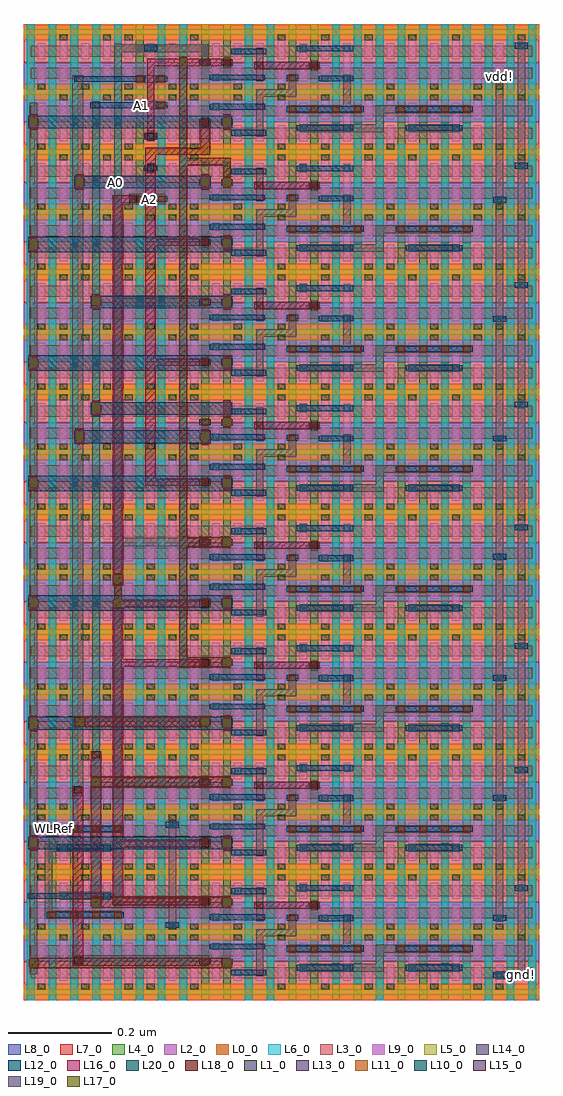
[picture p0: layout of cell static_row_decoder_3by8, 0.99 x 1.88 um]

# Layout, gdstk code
from math import pi, radians
import gdstk
lib = gdstk.Library(unit=1e-6, precision=5e-10)
def R(c, l, rs):  # rectangles x0, y0, x1, y1
    for r in rs: c.add(gdstk.rectangle(r[:2], r[2:], *l))
def A(c, l, x, y, w, h, nx, ny, dx, dy):  # array of equal rectangles
    R(c, l, [(x+i*dx, y+j*dy, x+i*dx+w, y+j*dy+h) for i in range(nx) for j in range(ny)])
L0_0 = (0, 0)
L1_0 = (1, 0)
L2_0 = (2, 0)
L3_0 = (3, 0)
L4_0 = (4, 0)
L5_0 = (5, 0)
L6_0 = (6, 0)
L7_0 = (7, 0)
L8_0 = (8, 0)
L9_0 = (9, 0)
L10_0 = (10, 0)
L11_0 = (11, 0)
L12_0 = (12, 0)
L13_0 = (13, 0)
L14_0 = (14, 0)
L15_0 = (15, 0)
L16_0 = (16, 0)
L17_0 = (17, 0)
L18_0 = (18, 0)
L19_0 = (19, 0)
L20_0 = (20, 0)

nmos = lib.new_cell('nmos')
R(nmos, L3_0, [(-0.042,-0.0105,0.042,0.0105)])
A(nmos, L4_0, -0.0495, -0.032, 0.015, 0.064, 3, 1, 0.042, 0)
R(nmos, L7_0, [(-0.0555,-0.021,0.0555,0.0205)])
R(nmos, L9_0, [(-0.0285,-0.0155,-0.0135,0.0155), (0.0135,-0.0155,0.0285,0.0155)])

pmos = lib.new_cell('pmos')
R(pmos, L2_0, [(-0.042,-0.0205,0.042,0.0205)])
R(pmos, L3_0, [(-0.042,-0.0105,0.042,0.0105)])
A(pmos, L4_0, -0.0495, -0.032, 0.015, 0.064, 3, 1, 0.042, 0)
R(pmos, L8_0, [(-0.0555,-0.0205,0.0555,0.0205)])
R(pmos, L9_0, [(-0.0285,-0.0155,-0.0135,0.0155), (0.0135,-0.0155,0.0285,0.0155)])

bpr_m0a = lib.new_cell('BPR_M0A')
R(bpr_m0a, L0_0, [(-0.021,-0.0055,0.021,0.026)])
R(bpr_m0a, L1_0, [(-0.0075,-0.0055,0.0075,0.005)])
R(bpr_m0a, L9_0, [(-0.0075,-0.0165,0.0075,0.005)])

m0a_m0b = lib.new_cell('M0A_M0B')
R(m0a_m0b, L9_0, [(-0.0075,-0.0055,0.0075,0.0055)])
R(m0a_m0b, L10_0, [(-0.0065,-0.0065,0.0065,0.0065)])
R(m0a_m0b, L12_0, [(-0.0125,-0.0055,0.0125,0.0055)])

m0b_m1 = lib.new_cell('M0B_M1')
R(m0b_m1, L12_0, [(-0.011,-0.005,0.011,0.005)])
R(m0b_m1, L13_0, [(-0.007,-0.005,0.007,0.005)])
R(m0b_m1, L14_0, [(-0.007,-0.0075,0.007,0.0075)])

gate_m0b = lib.new_cell('GATE_M0B')
R(gate_m0b, L4_0, [(-0.0075,-0.0115,0.0075,0.0115)])
R(gate_m0b, L11_0, [(-0.0075,-0.0065,0.0075,0.0065)])
R(gate_m0b, L12_0, [(-0.011,-0.0055,0.011,0.0055)])

nand = lib.new_cell('nand')
R(nand, L0_0, [(0.1045,0.057,0.2155,0.0885), (0.1465,0.057,0.2995,0.0885), (0.133,0.0665,0.142,0.074), (0.1045,0.1725,0.2155,0.204), (0.1465,0.1725,0.2995,0.204), (0.137,0.192,0.143,0.198)])
R(nand, L2_0, [(0.1045,0.1315,0.2155,0.204), (0.1465,0.1315,0.2995,0.204)])
A(nand, L4_0, 0.1105, 0.057, 0.015, 0.147, 5, 1, 0.042, 0)
R(nand, L4_0, [(0.2785,0.057,0.2935,0.204)])
R(nand, L5_0, [(0.1045,0.0675,0.2995,0.078), (0.1045,0.183,0.2995,0.1935)])
R(nand, L6_0, [(0.1105,0.057,0.1255,0.204), (0.2365,0.057,0.2515,0.204), (0.2785,0.057,0.2935,0.204)])
R(nand, L7_0, [(0.1045,0.057,0.2155,0.1315), (0.1465,0.057,0.2995,0.1315)])
R(nand, L8_0, [(0.1045,0.132,0.2155,0.2045), (0.1465,0.133,0.2995,0.2045)])
R(nand, L12_0, [(0.2105,0.1045,0.2775,0.1155), (0.1685,0.1545,0.276,0.1655)])
R(nand, L14_0, [(0.258,0.1025,0.272,0.1675), (0.1575,0.129,0.162,0.134), (0.2,0.1295,0.204,0.133), (0.262,0.1575,0.2675,0.1625)])
nand.add(gdstk.Reference(nmos, (0.244,0.1095), rotation=pi, x_reflection=True))
nand.add(gdstk.Reference(nmos, (0.16,0.1095), rotation=pi, x_reflection=True))
nand.add(gdstk.Reference(pmos, (0.16,0.152), rotation=pi, x_reflection=True))
nand.add(gdstk.Reference(pmos, (0.202,0.152), rotation=pi, x_reflection=True))
nand.add(gdstk.Reference(pmos, (0.244,0.152), rotation=pi, x_reflection=True))
nand.add(gdstk.Reference(bpr_m0a, (0.139,0.178), rotation=pi, x_reflection=True))
nand.add(gdstk.Reference(bpr_m0a, (0.139,0.083), x_reflection=True))
nand.add(gdstk.Reference(bpr_m0a, (0.223,0.178), rotation=pi, x_reflection=True))
nand.add(gdstk.Reference(m0a_m0b, (0.181,0.16)))
nand.add(gdstk.Reference(m0a_m0b, (0.223,0.11)))
nand.add(gdstk.Reference(m0b_m1, (0.265,0.16)))
nand.add(gdstk.Reference(m0b_m1, (0.265,0.11)))
nand.add(gdstk.Reference(m0b_m1, (0.202,0.131)))
nand.add(gdstk.Reference(m0b_m1, (0.16,0.131)))
nand.add(gdstk.Reference(gate_m0b, (0.202,0.131)))
nand.add(gdstk.Reference(gate_m0b, (0.16,0.131)))
nand.add(gdstk.Label('Y', (0.2645,0.16), layer=14, texttype=0))
nand.add(gdstk.Label('A', (0.1595,0.1315), layer=14, texttype=0))
nand.add(gdstk.Label('B', (0.202,0.131), layer=14, texttype=0))
nand.add(gdstk.Label('gnd!', (0.1375,0.07), layer=0, texttype=0))
nand.add(gdstk.Label('vdd!', (0.14,0.195), layer=0, texttype=0))

sram_filler = lib.new_cell('sram_filler')
R(sram_filler, L0_0, [(0.001,0,0.112,0.0315), (0.072,0.0115,0.084,0.0245), (0.001,0.1155,0.112,0.147), (0.072,0.121,0.0855,0.141)])
R(sram_filler, L2_0, [(0.001,0.0745,0.112,0.147)])
A(sram_filler, L4_0, 0.007, 0, 0.015, 0.147, 3, 1, 0.042, 0)
R(sram_filler, L5_0, [(0.001,0.0105,0.112,0.021), (0.001,0.126,0.112,0.1365)])
A(sram_filler, L6_0, 0.007, 0, 0.015, 0.147, 3, 1, 0.042, 0)
R(sram_filler, L7_0, [(0.001,0,0.112,0.0745)])
R(sram_filler, L8_0, [(0.001,0.075,0.112,0.1475)])
sram_filler.add(gdstk.Reference(nmos, (0.0565,0.0525)))
sram_filler.add(gdstk.Reference(pmos, (0.0565,0.095)))
sram_filler.add(gdstk.Reference(bpr_m0a, (0.0355,0.026), rotation=pi))
sram_filler.add(gdstk.Reference(bpr_m0a, (0.0775,0.121)))

invx4 = lib.new_cell('invx4')
R(invx4, L0_0, [(0.006,0,0.243,0.0315), (0.033,0.0045,0.0535,0.0175), (0.006,0.1155,0.243,0.147), (0.194,0.131,0.215,0.143)])
R(invx4, L2_0, [(0.006,0.0745,0.243,0.147)])
A(invx4, L4_0, 0.012, 0, 0.015, 0.147, 6, 1, 0.042, 0)
R(invx4, L5_0, [(0.006,0.0105,0.243,0.021), (0.006,0.126,0.243,0.1365)])
R(invx4, L6_0, [(0.012,0,0.027,0.147), (0.222,0,0.237,0.147), (0.138,0.0315,0.153,0.0715), (0.18,0.0315,0.195,0.0715)])
R(invx4, L7_0, [(0.006,0,0.243,0.0745)])
R(invx4, L8_0, [(0.006,0.075,0.243,0.1475)])
R(invx4, L9_0, [(0.075,0.06,0.09,0.0795), (0.159,0.06,0.174,0.08)])
R(invx4, L12_0, [(0.07,0.0565,0.179,0.0675), (0.0505,0.093,0.1985,0.104)])
R(invx4, L14_0, [(0.0755,0.0545,0.1735,0.0695), (0.0795,0.058,0.0865,0.0645), (0.0545,0.091,0.1945,0.106), (0.079,0.0965,0.0855,0.1015)])
invx4.add(gdstk.Reference(bpr_m0a, (0.2085,0.121)))
invx4.add(gdstk.Reference(bpr_m0a, (0.1245,0.026), rotation=pi))
invx4.add(gdstk.Reference(bpr_m0a, (0.2085,0.026), rotation=pi))
invx4.add(gdstk.Reference(bpr_m0a, (0.0405,0.026), rotation=pi))
invx4.add(gdstk.Reference(bpr_m0a, (0.1245,0.121)))
invx4.add(gdstk.Reference(bpr_m0a, (0.0405,0.121)))
invx4.add(gdstk.Reference(gate_m0b, (0.0615,0.0985)))
invx4.add(gdstk.Reference(gate_m0b, (0.1035,0.0985)))
invx4.add(gdstk.Reference(gate_m0b, (0.1455,0.0985)))
invx4.add(gdstk.Reference(gate_m0b, (0.1875,0.0985)))
invx4.add(gdstk.Reference(m0a_m0b, (0.0825,0.062)))
invx4.add(gdstk.Reference(m0a_m0b, (0.1665,0.062)))
invx4.add(gdstk.Reference(nmos, (0.1875,0.0525)))
invx4.add(gdstk.Reference(nmos, (0.1455,0.0525)))
invx4.add(gdstk.Reference(nmos, (0.0615,0.0525)))
invx4.add(gdstk.Reference(nmos, (0.1035,0.0525)))
invx4.add(gdstk.Reference(pmos, (0.1875,0.095)))
invx4.add(gdstk.Reference(pmos, (0.1455,0.095)))
invx4.add(gdstk.Reference(pmos, (0.1035,0.095)))
invx4.add(gdstk.Reference(pmos, (0.0615,0.095)))
invx4.add(gdstk.Reference(m0b_m1, (0.0615,0.0985)))
invx4.add(gdstk.Reference(m0b_m1, (0.1035,0.0985)))
invx4.add(gdstk.Reference(m0b_m1, (0.1455,0.0985)))
invx4.add(gdstk.Reference(m0b_m1, (0.1875,0.0985)))
invx4.add(gdstk.Reference(m0b_m1, (0.0825,0.062)))
invx4.add(gdstk.Reference(m0b_m1, (0.1665,0.062)))
invx4.add(gdstk.Label('vdd!', (0.2045,0.137), layer=0, texttype=0))
invx4.add(gdstk.Label('gnd!', (0.043,0.011), layer=0, texttype=0))
invx4.add(gdstk.Label('in', (0.082,0.099), layer=14, texttype=0))
invx4.add(gdstk.Label('out', (0.083,0.061), layer=14, texttype=0))

buffer_highdrive = lib.new_cell('buffer_highdrive')
R(buffer_highdrive, L0_0, [(0.2825,0.012,0.293,0.018), (0.159,0.138,0.1675,0.143)])
R(buffer_highdrive, L14_0, [(0.168,0.054,0.2315,0.069), (0.2165,0.054,0.2315,0.1055), (0.3675,0.0575,0.3745,0.064), (0.2165,0.0905,0.259,0.1055), (0.2835,0.096,0.29,0.101)])
buffer_highdrive.add(gdstk.Reference(invx4, (-0.0055,-0.0005)))
buffer_highdrive.add(gdstk.Reference(invx4, (0.2045,-0.0005)))
buffer_highdrive.add(gdstk.Label('vdd!', (0.163,0.1405), layer=0, texttype=0))
buffer_highdrive.add(gdstk.Label('gnd!', (0.2875,0.015), layer=0, texttype=0))

nor = lib.new_cell('nor')
R(nor, L0_0, [(0.157,0.0005,0.352,0.032), (0.186,0.009,0.1965,0.016), (0.157,0.116,0.352,0.1475), (0.1885,0.1335,0.1945,0.1415)])
R(nor, L2_0, [(0.157,0.075,0.352,0.1325)])
A(nor, L4_0, 0.163, 0.0005, 0.015, 0.147, 5, 1, 0.042, 0)
R(nor, L5_0, [(0.157,0.011,0.352,0.0215), (0.157,0.1265,0.352,0.137)])
R(nor, L6_0, [(0.163,0.0005,0.178,0.1475), (0.289,0.0005,0.304,0.1475), (0.331,0.0005,0.346,0.1475)])
R(nor, L7_0, [(0.157,0.0005,0.352,0.075)])
R(nor, L8_0, [(0.157,0.075,0.352,0.148)])
R(nor, L9_0, [(0.31,0.0635,0.325,0.0955)])
R(nor, L12_0, [(0.221,0.042,0.325,0.053), (0.263,0.1,0.33,0.111)])
R(nor, L14_0, [(0.2315,0.0455,0.2355,0.0495), (0.253,0.0775,0.2565,0.0805), (0.209,0.1035,0.2155,0.1085)])
nor.add(gdstk.Reference(bpr_m0a, (0.1915,0.1215)))
nor.add(gdstk.Reference(bpr_m0a, (0.2755,0.0265), rotation=pi))
nor.add(gdstk.Reference(bpr_m0a, (0.1915,0.0265), rotation=pi))
nor.add(gdstk.Reference(nmos, (0.2965,0.053)))
nor.add(gdstk.Reference(nmos, (0.2545,0.053)))
nor.add(gdstk.Reference(nmos, (0.2125,0.053)))
nor.add(gdstk.Reference(pmos, (0.2965,0.0955)))
nor.add(gdstk.Reference(pmos, (0.2545,0.0955)))
nor.add(gdstk.Reference(pmos, (0.2125,0.0955)))
nor.add(gdstk.Reference(m0b_m1, (0.2545,0.0795)))
nor.add(gdstk.Reference(m0b_m1, (0.2125,0.1055)))
nor.add(gdstk.Reference(m0b_m1, (0.2335,0.0475)))
nor.add(gdstk.Reference(m0a_m0b, (0.3175,0.0475)))
nor.add(gdstk.Reference(m0a_m0b, (0.3175,0.1055)))
nor.add(gdstk.Reference(m0a_m0b, (0.2755,0.1055)))
nor.add(gdstk.Reference(m0a_m0b, (0.2335,0.0475)))
nor.add(gdstk.Reference(gate_m0b, (0.2545,0.0795)))
nor.add(gdstk.Reference(gate_m0b, (0.2125,0.104)))
nor.add(gdstk.Label('Y', (0.2335,0.0475), layer=14, texttype=0))
nor.add(gdstk.Label('B', (0.2545,0.079), layer=14, texttype=0))
nor.add(gdstk.Label('A', (0.212,0.106), layer=14, texttype=0))
nor.add(gdstk.Label('gnd!', (0.191,0.0125), layer=0, texttype=0))
nor.add(gdstk.Label('vdd!', (0.1915,0.1375), layer=0, texttype=0))

m1_m2 = lib.new_cell('M1_M2')
R(m1_m2, L14_0, [(-0.007,-0.01,0.007,0.01)])
R(m1_m2, L15_0, [(-0.007,-0.007,0.007,0.007)])
R(m1_m2, L16_0, [(-0.01,-0.007,0.01,0.007)])

inv = lib.new_cell('inv')
R(inv, L0_0, [(0,0,0.153,0.0315), (0.025,0.006,0.0415,0.016), (0,0.1155,0.153,0.147), (0.11,0.131,0.125,0.1425)])
R(inv, L2_0, [(0,0.0745,0.153,0.147)])
A(inv, L4_0, 0.006, 0, 0.015, 0.147, 4, 1, 0.042, 0)
R(inv, L5_0, [(0,0.0105,0.153,0.021), (0,0.126,0.153,0.1365)])
R(inv, L6_0, [(0.006,0,0.021,0.147), (0.09,0,0.105,0.0715), (0.132,0,0.147,0.147)])
R(inv, L7_0, [(0,0,0.153,0.0745)])
R(inv, L8_0, [(0,0.075,0.153,0.1475)])
R(inv, L9_0, [(0.069,0.068,0.084,0.0795)])
R(inv, L12_0, [(0.0915,0.103,0.1055,0.1095)])
R(inv, L14_0, [(0.071,0.0415,0.0815,0.051), (0.0485,0.0985,0.1045,0.1135)])
inv.add(gdstk.Reference(nmos, (0.0975,0.0525)))
inv.add(gdstk.Reference(nmos, (0.0555,0.0525)))
inv.add(gdstk.Reference(pmos, (0.0975,0.095)))
inv.add(gdstk.Reference(pmos, (0.0555,0.095)))
inv.add(gdstk.Reference(bpr_m0a, (0.0345,0.026), rotation=pi))
inv.add(gdstk.Reference(bpr_m0a, (0.0345,0.121)))
inv.add(gdstk.Reference(bpr_m0a, (0.1185,0.121)))
inv.add(gdstk.Reference(m0a_m0b, (0.0765,0.0465)))
inv.add(gdstk.Reference(gate_m0b, (0.0555,0.106)))
inv.add(gdstk.Reference(gate_m0b, (0.0975,0.106)))
inv.add(gdstk.Reference(m0b_m1, (0.0555,0.106)))
inv.add(gdstk.Reference(m0b_m1, (0.0765,0.0465)))
inv.add(gdstk.Reference(m0b_m1, (0.0975,0.106)))
inv.add(gdstk.Label('vdd!', (0.1175,0.1365), layer=0, texttype=0))
inv.add(gdstk.Label('gnd!', (0.033,0.011), layer=0, texttype=0))
inv.add(gdstk.Label('out', (0.075,0.0435), layer=14, texttype=0))
inv.add(gdstk.Label('in', (0.0985,0.1045), layer=14, texttype=0))

m2_m3 = lib.new_cell('M2_M3')
R(m2_m3, L16_0, [(-0.01,-0.007,0.01,0.007)])
R(m2_m3, L17_0, [(-0.007,-0.007,0.007,0.007)])
R(m2_m3, L18_0, [(-0.0075,-0.01,0.0075,0.01)])

buffer_highdrive_vertica = lib.new_cell('buffer_highdrive_vertical')
R(buffer_highdrive_vertica, L0_0, [(0.079,0.012,0.0895,0.018), (0.159,0.138,0.1675,0.143)])
R(buffer_highdrive_vertica, L6_0, [(0.1325,-0.0005,0.1475,0.031), (0.1745,-0.0005,0.1895,0.031)])
R(buffer_highdrive_vertica, L14_0, [(0.2795,-0.0945,0.2945,0.1135), (0.041,-0.075,0.056,0.069), (0.041,-0.075,0.063,-0.06), (0.074,-0.0335,0.081,-0.027), (0.041,0.054,0.0845,0.069), (0.0735,0.096,0.08,0.101)])
buffer_highdrive_vertica.add(gdstk.Reference(invx4, (-0.0055,-0.0005)))
buffer_highdrive_vertica.add(gdstk.Reference(invx4, (-0.0055,0.031), x_reflection=True))
buffer_highdrive_vertica.add(gdstk.Reference(sram_filler, (0.2095,-0.0005)))
buffer_highdrive_vertica.add(gdstk.Reference(sram_filler, (0.2095,0.031), x_reflection=True))
buffer_highdrive_vertica.add(gdstk.Reference(m0a_m0b, (0.287,-0.087)))
buffer_highdrive_vertica.add(gdstk.Reference(m0a_m0b, (0.287,0.106)))
buffer_highdrive_vertica.add(gdstk.Reference(m0b_m1, (0.287,-0.087)))
buffer_highdrive_vertica.add(gdstk.Reference(m0b_m1, (0.287,0.106)))
buffer_highdrive_vertica.add(gdstk.Label('vdd!', (0.163,0.1335), layer=0, texttype=0))
buffer_highdrive_vertica.add(gdstk.Label('gnd!', (0.084,0.015), layer=0, texttype=0))
buffer_highdrive_vertica.add(gdstk.Label('in', (0.0765,0.0985), layer=14, texttype=0))
buffer_highdrive_vertica.add(gdstk.Label('out', (0.0775,-0.03), layer=14, texttype=0))

m3_m4 = lib.new_cell('M3_M4')
R(m3_m4, L18_0, [(-0.0075,-0.015,0.0075,0.015)])
R(m3_m4, L19_0, [(-0.0075,-0.012,0.0075,0.012)])
R(m3_m4, L20_0, [(-0.0105,-0.012,0.0105,0.012)])

static_row_decoder_3by8 = lib.new_cell('static_row_decoder_3by8')
R(static_row_decoder_3by8, L6_0, [(0.421,0.1415,0.436,0.1835)])
R(static_row_decoder_3by8, L12_0, [(0.171,-1.2745,0.2315,-1.2635), (0.2915,0.248,0.3975,0.259), (0.26,0.2985,0.3975,0.3095)])
A(static_row_decoder_3by8, L14_0, 0.6105, -1.38, 0.014, 0.047, 1, 8, 0, 0.231)
A(static_row_decoder_3by8, L14_0, 0.7785, -1.3785, 0.014, 0.074, 1, 8, 0, 0.231)
A(static_row_decoder_3by8, L14_0, 0.6105, -1.347, 0.0775, 0.014, 1, 8, 0, 0.231)
A(static_row_decoder_3by8, L14_0, 0.6735, -1.347, 0.0145, 0.0425, 1, 8, 0, 0.231)
A(static_row_decoder_3by8, L14_0, 0.337, -1.0575, 0.183, 0.016, 1, 3, 0, 0.462)
R(static_row_decoder_3by8, L14_0, [(1.0725,-1.4295,1.129,-1.4145), (1.1145,-1.4295,1.129,0.3755), (1.118,-1.4265,1.1275,-1.416), (0.175,-1.4195,0.189,-1.2765), (0.26,-1.4035,0.5195,-1.3835), (1.072,-1.319,1.087,0.317), (0.175,-1.2765,0.189,0.258), (0.214,-1.1445,0.225,-1.1335), (0.257,-1.0765,0.278,0.3115), (0.337,-1.0555,0.352,0.3715), (0.2955,-1.0075,0.3095,0.261), (0.5055,-0.395,0.5195,-0.349), (0.366,0.063,0.436,0.083), (0.4015,0.069,0.41,0.0765), (0.3815,0.248,0.397,0.259), (1.075,0.3055,1.084,0.3115), (0.5055,0.3295,0.5195,0.371), (0.337,0.356,0.415,0.371), (0.4005,0.356,0.5195,0.371)])
A(static_row_decoder_3by8, L16_0, 0.6075, -1.294, 0.126, 0.014, 1, 8, 0, 0.231)
A(static_row_decoder_3by8, L16_0, 0.3975, -0.4795, 0.125, 0.014, 1, 3, 0, 0.231)
R(static_row_decoder_3by8, L16_0, [(0.2575,-1.404,0.2775,-1.0575), (0.2925,-1.2885,0.3125,-0.99), (0.3345,-1.2875,0.3545,-0.699), (0.337,-1.2875,0.5225,-1.2735), (0.337,-1.175,0.5225,-1.161), (0.337,-0.8275,0.5225,-0.8135), (0.3345,-0.7135,0.5225,-0.699), (0.3345,-0.67,0.3545,0.08), (0.337,-0.67,0.352,-0.6625), (0.3975,-0.4795,0.4175,0.1455), (0.337,0.066,0.382,0.08), (0.3975,0.1255,0.4175,0.172), (0.3975,0.158,0.5225,0.172), (0.5025,0.158,0.5225,0.2275), (0.4005,0.1865,0.4145,0.343), (0.4005,0.329,0.5645,0.343)])
R(static_row_decoder_3by8, L18_0, [(0.175,-1.408,0.562,-1.388), (0.295,-1.2915,0.562,-1.271), (0.2925,-1.06,0.562,-1.04), (0.261,-0.9435,0.52,-0.9235), (0.463,-0.829,0.562,-0.809), (0.463,-0.829,0.478,0.346), (0.337,-0.716,0.352,-0.6485), (0.463,-0.598,0.562,-0.578), (0.547,-0.367,0.562,-0.315), (0.547,0.095,0.562,0.152), (0.463,0.138,0.562,0.152)])
R(static_row_decoder_3by8, L20_0, [(0.175,-1.179,0.565,-1.155), (0.1715,-0.949,0.565,-0.924), (0.1715,-0.72,0.565,-0.69), (0.1715,-0.4895,0.565,-0.4595), (0.2605,-0.397,0.523,-0.3725), (0.292,-0.3425,0.565,-0.318), (0.1715,-0.258,0.565,-0.228), (0.292,-0.1375,0.565,-0.1135), (0.1715,-0.0295,0.565,0.0005), (0.2605,0.094,0.523,0.118), (0.3265,0.0985,0.352,0.111), (0.175,0.2095,0.565,0.2335)])
static_row_decoder_3by8.add(gdstk.Reference(nand, (0.3525,-0.8335)))
static_row_decoder_3by8.add(gdstk.Reference(nand, (0.3525,-0.457), x_reflection=True))
static_row_decoder_3by8.add(gdstk.Reference(nand, (0.3525,-0.688), x_reflection=True))
static_row_decoder_3by8.add(gdstk.Reference(nand, (0.3525,-1.0645)))
static_row_decoder_3by8.add(gdstk.Reference(nand, (0.3525,-1.5265)))
static_row_decoder_3by8.add(gdstk.Reference(nand, (0.3525,-1.2955)))
static_row_decoder_3by8.add(gdstk.Reference(nand, (0.3525,-0.919), x_reflection=True))
static_row_decoder_3by8.add(gdstk.Reference(nand, (0.3525,-1.15), x_reflection=True))
static_row_decoder_3by8.add(gdstk.Reference(nand, (0.3525,-0.1405)))
static_row_decoder_3by8.add(gdstk.Reference(nand, (0.3525,-0.6025)))
static_row_decoder_3by8.add(gdstk.Reference(nand, (0.3525,-0.226), x_reflection=True))
static_row_decoder_3by8.add(gdstk.Reference(nand, (0.3525,0.005), x_reflection=True))
static_row_decoder_3by8.add(gdstk.Reference(nand, (0.3525,-0.3715)))
static_row_decoder_3by8.add(gdstk.Reference(nand, (0.3525,0.236), x_reflection=True))
static_row_decoder_3by8.add(gdstk.Reference(nand, (0.3525,0.467), x_reflection=True))
static_row_decoder_3by8.add(gdstk.Reference(nand, (0.3525,0.0905)))
static_row_decoder_3by8.add(gdstk.Reference(sram_filler, (1.044,-0.3145)))
static_row_decoder_3by8.add(gdstk.Reference(sram_filler, (1.157,-0.745), rotation=pi))
static_row_decoder_3by8.add(gdstk.Reference(sram_filler, (1.044,-0.7765)))
static_row_decoder_3by8.add(gdstk.Reference(sram_filler, (1.157,-0.514), rotation=pi))
static_row_decoder_3by8.add(gdstk.Reference(sram_filler, (1.044,-0.5455)))
static_row_decoder_3by8.add(gdstk.Reference(sram_filler, (1.157,-0.283), rotation=pi))
static_row_decoder_3by8.add(gdstk.Reference(sram_filler, (1.044,-1.0075)))
static_row_decoder_3by8.add(gdstk.Reference(sram_filler, (1.157,-0.976), rotation=pi))
static_row_decoder_3by8.add(gdstk.Reference(sram_filler, (1.044,-1.2385)))
static_row_decoder_3by8.add(gdstk.Reference(sram_filler, (1.157,-1.207), rotation=pi))
static_row_decoder_3by8.add(gdstk.Reference(sram_filler, (1.044,-1.4695)))
static_row_decoder_3by8.add(gdstk.Reference(sram_filler, (1.157,-0.052), rotation=pi))
static_row_decoder_3by8.add(gdstk.Reference(sram_filler, (1.044,-0.0835)))
static_row_decoder_3by8.add(gdstk.Reference(sram_filler, (1.157,0.179), rotation=pi))
static_row_decoder_3by8.add(gdstk.Reference(sram_filler, (1.044,0.1475)))
static_row_decoder_3by8.add(gdstk.Reference(sram_filler, (1.157,0.41), rotation=pi))
static_row_decoder_3by8.add(gdstk.Reference(sram_filler, (0.275,0.41), rotation=pi))
static_row_decoder_3by8.add(gdstk.Reference(sram_filler, (0.162,0.1475)))
static_row_decoder_3by8.add(gdstk.Reference(sram_filler, (0.275,0.179), rotation=pi))
static_row_decoder_3by8.add(gdstk.Reference(sram_filler, (0.359,0.179), rotation=pi))
static_row_decoder_3by8.add(gdstk.Reference(sram_filler, (0.246,0.1475)))
static_row_decoder_3by8.add(gdstk.Reference(sram_filler, (0.359,0.41), rotation=pi))
static_row_decoder_3by8.add(gdstk.Reference(sram_filler, (0.162,-1.4695)))
static_row_decoder_3by8.add(gdstk.Reference(sram_filler, (0.246,-1.4695)))
static_row_decoder_3by8.add(gdstk.Reference(sram_filler, (0.33,-1.4695)))
static_row_decoder_3by8.add(gdstk.Reference(sram_filler, (0.372,-1.4695)))
static_row_decoder_3by8.add(gdstk.Reference(sram_filler, (0.162,-0.0835)))
static_row_decoder_3by8.add(gdstk.Reference(sram_filler, (0.246,-0.0835)))
static_row_decoder_3by8.add(gdstk.Reference(sram_filler, (0.33,-0.0835)))
static_row_decoder_3by8.add(gdstk.Reference(sram_filler, (0.372,-0.0835)))
static_row_decoder_3by8.add(gdstk.Reference(sram_filler, (0.162,-0.3145)))
static_row_decoder_3by8.add(gdstk.Reference(sram_filler, (0.204,-0.3145)))
static_row_decoder_3by8.add(gdstk.Reference(sram_filler, (0.288,-0.3145)))
static_row_decoder_3by8.add(gdstk.Reference(sram_filler, (0.372,-0.3145)))
static_row_decoder_3by8.add(gdstk.Reference(sram_filler, (0.275,-0.052), rotation=pi))
static_row_decoder_3by8.add(gdstk.Reference(sram_filler, (0.317,-0.052), rotation=pi))
static_row_decoder_3by8.add(gdstk.Reference(sram_filler, (0.401,-0.052), rotation=pi))
static_row_decoder_3by8.add(gdstk.Reference(sram_filler, (0.485,-0.052), rotation=pi))
static_row_decoder_3by8.add(gdstk.Reference(sram_filler, (0.485,-0.283), rotation=pi))
static_row_decoder_3by8.add(gdstk.Reference(sram_filler, (0.401,-0.283), rotation=pi))
static_row_decoder_3by8.add(gdstk.Reference(sram_filler, (0.317,-0.283), rotation=pi))
static_row_decoder_3by8.add(gdstk.Reference(sram_filler, (0.275,-0.283), rotation=pi))
static_row_decoder_3by8.add(gdstk.Reference(sram_filler, (0.372,-0.5455)))
static_row_decoder_3by8.add(gdstk.Reference(sram_filler, (0.288,-0.5455)))
static_row_decoder_3by8.add(gdstk.Reference(sram_filler, (0.204,-0.5455)))
static_row_decoder_3by8.add(gdstk.Reference(sram_filler, (0.162,-0.5455)))
static_row_decoder_3by8.add(gdstk.Reference(sram_filler, (0.275,-0.514), rotation=pi))
static_row_decoder_3by8.add(gdstk.Reference(sram_filler, (0.317,-0.514), rotation=pi))
static_row_decoder_3by8.add(gdstk.Reference(sram_filler, (0.401,-0.514), rotation=pi))
static_row_decoder_3by8.add(gdstk.Reference(sram_filler, (0.485,-0.514), rotation=pi))
static_row_decoder_3by8.add(gdstk.Reference(sram_filler, (0.162,-0.7765)))
static_row_decoder_3by8.add(gdstk.Reference(sram_filler, (0.246,-0.7765)))
static_row_decoder_3by8.add(gdstk.Reference(sram_filler, (0.33,-0.7765)))
static_row_decoder_3by8.add(gdstk.Reference(sram_filler, (0.372,-0.7765)))
static_row_decoder_3by8.add(gdstk.Reference(sram_filler, (0.485,-0.745), rotation=pi))
static_row_decoder_3by8.add(gdstk.Reference(sram_filler, (0.401,-0.745), rotation=pi))
static_row_decoder_3by8.add(gdstk.Reference(sram_filler, (0.317,-0.745), rotation=pi))
static_row_decoder_3by8.add(gdstk.Reference(sram_filler, (0.275,-0.745), rotation=pi))
static_row_decoder_3by8.add(gdstk.Reference(sram_filler, (0.372,-1.0075)))
static_row_decoder_3by8.add(gdstk.Reference(sram_filler, (0.33,-1.0075)))
static_row_decoder_3by8.add(gdstk.Reference(sram_filler, (0.246,-1.0075)))
static_row_decoder_3by8.add(gdstk.Reference(sram_filler, (0.162,-1.0075)))
static_row_decoder_3by8.add(gdstk.Reference(sram_filler, (0.275,-0.976), rotation=pi))
static_row_decoder_3by8.add(gdstk.Reference(sram_filler, (0.317,-0.976), rotation=pi))
static_row_decoder_3by8.add(gdstk.Reference(sram_filler, (0.401,-0.976), rotation=pi))
static_row_decoder_3by8.add(gdstk.Reference(sram_filler, (0.485,-0.976), rotation=pi))
static_row_decoder_3by8.add(gdstk.Reference(sram_filler, (0.792,-0.514), x_reflection=True))
static_row_decoder_3by8.add(gdstk.Reference(sram_filler, (0.96,-0.514), x_reflection=True))
static_row_decoder_3by8.add(gdstk.Reference(sram_filler, (0.876,-0.514), x_reflection=True))
static_row_decoder_3by8.add(gdstk.Reference(sram_filler, (0.96,-0.745), x_reflection=True))
static_row_decoder_3by8.add(gdstk.Reference(sram_filler, (0.792,-0.745), x_reflection=True))
static_row_decoder_3by8.add(gdstk.Reference(sram_filler, (0.876,-0.745), x_reflection=True))
static_row_decoder_3by8.add(gdstk.Reference(sram_filler, (0.792,-0.976), x_reflection=True))
static_row_decoder_3by8.add(gdstk.Reference(sram_filler, (0.96,-0.976), x_reflection=True))
static_row_decoder_3by8.add(gdstk.Reference(sram_filler, (0.876,-0.976), x_reflection=True))
static_row_decoder_3by8.add(gdstk.Reference(sram_filler, (0.96,-1.207), x_reflection=True))
static_row_decoder_3by8.add(gdstk.Reference(sram_filler, (0.792,-1.207), x_reflection=True))
static_row_decoder_3by8.add(gdstk.Reference(sram_filler, (0.876,-1.207), x_reflection=True))
static_row_decoder_3by8.add(gdstk.Reference(sram_filler, (0.876,-0.283), x_reflection=True))
static_row_decoder_3by8.add(gdstk.Reference(sram_filler, (0.792,-0.283), x_reflection=True))
static_row_decoder_3by8.add(gdstk.Reference(sram_filler, (0.96,-0.283), x_reflection=True))
static_row_decoder_3by8.add(gdstk.Reference(sram_filler, (0.876,-0.052), x_reflection=True))
static_row_decoder_3by8.add(gdstk.Reference(sram_filler, (0.96,-0.052), x_reflection=True))
static_row_decoder_3by8.add(gdstk.Reference(sram_filler, (0.792,-0.052), x_reflection=True))
static_row_decoder_3by8.add(gdstk.Reference(sram_filler, (0.792,0.179), x_reflection=True))
static_row_decoder_3by8.add(gdstk.Reference(sram_filler, (0.96,0.179), x_reflection=True))
static_row_decoder_3by8.add(gdstk.Reference(sram_filler, (0.96,0.41), x_reflection=True))
static_row_decoder_3by8.add(gdstk.Reference(sram_filler, (0.792,0.41), x_reflection=True))
static_row_decoder_3by8.add(gdstk.Reference(sram_filler, (0.876,0.41), x_reflection=True))
static_row_decoder_3by8.add(gdstk.Reference(sram_filler, (0.876,0.179), x_reflection=True))
static_row_decoder_3by8.add(gdstk.Reference(buffer_highdrive, (0.6245,-0.776)))
static_row_decoder_3by8.add(gdstk.Reference(buffer_highdrive, (0.6245,-1.238)))
static_row_decoder_3by8.add(gdstk.Reference(buffer_highdrive, (0.6245,-0.545)))
static_row_decoder_3by8.add(gdstk.Reference(buffer_highdrive, (0.6245,-0.314)))
static_row_decoder_3by8.add(gdstk.Reference(buffer_highdrive, (0.6245,-1.469)))
static_row_decoder_3by8.add(gdstk.Reference(buffer_highdrive, (0.6245,-1.007)))
static_row_decoder_3by8.add(gdstk.Reference(buffer_highdrive, (0.6245,0.148)))
static_row_decoder_3by8.add(gdstk.Reference(buffer_highdrive, (0.6245,-0.083)))
static_row_decoder_3by8.add(gdstk.Reference(nor, (0.468,-0.9755), x_reflection=True))
static_row_decoder_3by8.add(gdstk.Reference(nor, (0.468,-0.5135), x_reflection=True))
static_row_decoder_3by8.add(gdstk.Reference(nor, (0.468,-0.7445), x_reflection=True))
static_row_decoder_3by8.add(gdstk.Reference(nor, (0.468,-1.2065), x_reflection=True))
static_row_decoder_3by8.add(gdstk.Reference(nor, (0.468,-0.2825), x_reflection=True))
static_row_decoder_3by8.add(gdstk.Reference(nor, (0.468,-0.0515), x_reflection=True))
static_row_decoder_3by8.add(gdstk.Reference(nor, (0.468,0.4105), x_reflection=True))
static_row_decoder_3by8.add(gdstk.Reference(nor, (0.468,0.1795), x_reflection=True))
static_row_decoder_3by8.add(gdstk.Reference(m1_m2, (0.5545,-0.588)))
static_row_decoder_3by8.add(gdstk.Reference(m1_m2, (0.5545,-0.819)))
static_row_decoder_3by8.add(gdstk.Reference(m1_m2, (0.1825,-1.398)))
static_row_decoder_3by8.add(gdstk.Reference(m1_m2, (0.5545,-1.398)))
static_row_decoder_3by8.add(gdstk.Reference(m1_m2, (0.1825,-1.167)))
static_row_decoder_3by8.add(gdstk.Reference(m1_m2, (0.5545,-1.167)))
static_row_decoder_3by8.add(gdstk.Reference(m1_m2, (0.182,-0.937)))
static_row_decoder_3by8.add(gdstk.Reference(m1_m2, (0.5545,-0.936)))
static_row_decoder_3by8.add(gdstk.Reference(m1_m2, (0.182,-0.705)))
static_row_decoder_3by8.add(gdstk.Reference(m1_m2, (0.5545,-0.705)))
static_row_decoder_3by8.add(gdstk.Reference(m1_m2, (0.182,-0.4745)))
static_row_decoder_3by8.add(gdstk.Reference(m1_m2, (0.5545,-0.474)))
static_row_decoder_3by8.add(gdstk.Reference(m1_m2, (0.182,-0.0145)))
static_row_decoder_3by8.add(gdstk.Reference(m1_m2, (0.5545,-0.012)))
static_row_decoder_3by8.add(gdstk.Reference(m1_m2, (0.182,-0.243)))
static_row_decoder_3by8.add(gdstk.Reference(m1_m2, (0.5545,-0.243)))
static_row_decoder_3by8.add(gdstk.Reference(m1_m2, (0.1825,0.2215)))
static_row_decoder_3by8.add(gdstk.Reference(m1_m2, (0.5545,0.2215)))
static_row_decoder_3by8.add(gdstk.Reference(m1_m2, (0.2675,-1.3935)))
static_row_decoder_3by8.add(gdstk.Reference(m1_m2, (0.2675,-1.0645)))
static_row_decoder_3by8.add(gdstk.Reference(m1_m2, (0.271,-0.9335)))
static_row_decoder_3by8.add(gdstk.Reference(m1_m2, (0.5545,0.105)))
static_row_decoder_3by8.add(gdstk.Reference(m1_m2, (0.5125,-0.9335)))
static_row_decoder_3by8.add(gdstk.Reference(m1_m2, (0.271,-0.3845)))
static_row_decoder_3by8.add(gdstk.Reference(m1_m2, (0.5125,-0.385)))
static_row_decoder_3by8.add(gdstk.Reference(m1_m2, (0.271,0.106)))
static_row_decoder_3by8.add(gdstk.Reference(m1_m2, (0.5125,0.106)))
static_row_decoder_3by8.add(gdstk.Reference(m1_m2, (0.5545,-1.05)))
static_row_decoder_3by8.add(gdstk.Reference(m1_m2, (0.3025,-0.997)))
static_row_decoder_3by8.add(gdstk.Reference(m1_m2, (0.3025,-0.3305)))
static_row_decoder_3by8.add(gdstk.Reference(m1_m2, (0.5545,-0.357)))
static_row_decoder_3by8.add(gdstk.Reference(m1_m2, (0.5545,-0.1255)))
static_row_decoder_3by8.add(gdstk.Reference(m1_m2, (0.3025,-0.1255)))
static_row_decoder_3by8.add(gdstk.Reference(m1_m2, (0.5125,-0.706)))
static_row_decoder_3by8.add(gdstk.Reference(m1_m2, (0.5125,-0.8205)))
static_row_decoder_3by8.add(gdstk.Reference(m1_m2, (0.5125,-1.2805)))
static_row_decoder_3by8.add(gdstk.Reference(m1_m2, (0.3735,0.073)))
static_row_decoder_3by8.add(gdstk.Reference(m1_m2, (0.5125,-1.168)))
static_row_decoder_3by8.add(gdstk.Reference(m1_m2, (0.5545,-1.281)))
static_row_decoder_3by8.add(gdstk.Reference(m1_m2, (0.5125,-0.4725)))
static_row_decoder_3by8.add(gdstk.Reference(m1_m2, (0.5125,-0.2415)))
static_row_decoder_3by8.add(gdstk.Reference(m1_m2, (0.5125,-0.0105)))
static_row_decoder_3by8.add(gdstk.Reference(m1_m2, (0.5125,0.2205)))
static_row_decoder_3by8.add(gdstk.Reference(m1_m2, (0.4075,0.1325)))
static_row_decoder_3by8.add(gdstk.Reference(m1_m2, (0.4075,0.194)))
static_row_decoder_3by8.add(gdstk.Reference(m1_m2, (0.5545,0.336)))
static_row_decoder_3by8.add(gdstk.Reference(m1_m2, (0.7225,0.33)))
static_row_decoder_3by8.add(gdstk.Reference(m1_m2, (0.6175,0.33)))
static_row_decoder_3by8.add(gdstk.Reference(m1_m2, (0.6175,-0.363)))
static_row_decoder_3by8.add(gdstk.Reference(m1_m2, (0.7225,-0.363)))
static_row_decoder_3by8.add(gdstk.Reference(m1_m2, (0.7225,-0.132)))
static_row_decoder_3by8.add(gdstk.Reference(m1_m2, (0.6175,-1.056)))
static_row_decoder_3by8.add(gdstk.Reference(m1_m2, (0.7225,-1.056)))
static_row_decoder_3by8.add(gdstk.Reference(m1_m2, (0.6175,-0.825)))
static_row_decoder_3by8.add(gdstk.Reference(m1_m2, (0.7225,-0.825)))
static_row_decoder_3by8.add(gdstk.Reference(m1_m2, (0.7225,-0.594)))
static_row_decoder_3by8.add(gdstk.Reference(m1_m2, (0.6175,-0.132)))
static_row_decoder_3by8.add(gdstk.Reference(m1_m2, (0.7225,-1.287)))
static_row_decoder_3by8.add(gdstk.Reference(m1_m2, (0.6175,-1.287)))
static_row_decoder_3by8.add(gdstk.Reference(m1_m2, (0.6175,-0.594)))
static_row_decoder_3by8.add(gdstk.Reference(m1_m2, (0.7225,0.099)))
static_row_decoder_3by8.add(gdstk.Reference(m1_m2, (0.6175,0.099)))
static_row_decoder_3by8.add(gdstk.Reference(m0b_m1, (1.1215,-0.788)))
static_row_decoder_3by8.add(gdstk.Reference(m0b_m1, (1.0795,-0.158)))
static_row_decoder_3by8.add(gdstk.Reference(m0b_m1, (1.0795,-1.422)))
static_row_decoder_3by8.add(gdstk.Reference(m0b_m1, (1.1215,-1.254)))
static_row_decoder_3by8.add(gdstk.Reference(m0b_m1, (1.1215,-1.0265)))
static_row_decoder_3by8.add(gdstk.Reference(m0b_m1, (1.1215,-0.5595)))
static_row_decoder_3by8.add(gdstk.Reference(m0b_m1, (1.1215,-0.323)))
static_row_decoder_3by8.add(gdstk.Reference(m0b_m1, (1.1215,0.137)))
static_row_decoder_3by8.add(gdstk.Reference(m0b_m1, (1.1215,0.368)))
static_row_decoder_3by8.add(gdstk.Reference(m0b_m1, (1.0795,-0.616)))
static_row_decoder_3by8.add(gdstk.Reference(m0b_m1, (1.0795,-0.8495)))
static_row_decoder_3by8.add(gdstk.Reference(m0b_m1, (1.0795,-1.3115)))
static_row_decoder_3by8.add(gdstk.Reference(m0b_m1, (1.0795,-1.0805)))
static_row_decoder_3by8.add(gdstk.Reference(m0b_m1, (1.0795,-0.388)))
static_row_decoder_3by8.add(gdstk.Reference(m0b_m1, (1.1215,-0.0925)))
static_row_decoder_3by8.add(gdstk.Reference(m0b_m1, (1.0795,0.0715)))
static_row_decoder_3by8.add(gdstk.Reference(m0b_m1, (1.08,0.3095)))
static_row_decoder_3by8.add(gdstk.Reference(m0b_m1, (0.182,-1.269)))
static_row_decoder_3by8.add(gdstk.Reference(m0b_m1, (0.271,0.304)))
static_row_decoder_3by8.add(gdstk.Reference(m0b_m1, (0.3025,0.2535)))
static_row_decoder_3by8.add(gdstk.Reference(m0b_m1, (0.7855,0.305)))
static_row_decoder_3by8.add(gdstk.Reference(m0b_m1, (0.7855,-0.388)))
static_row_decoder_3by8.add(gdstk.Reference(m0b_m1, (0.7855,-0.157)))
static_row_decoder_3by8.add(gdstk.Reference(m0b_m1, (0.7855,-0.619)))
static_row_decoder_3by8.add(gdstk.Reference(m0b_m1, (0.7855,-1.081)))
static_row_decoder_3by8.add(gdstk.Reference(m0b_m1, (0.7855,-1.312)))
static_row_decoder_3by8.add(gdstk.Reference(m0b_m1, (0.7855,-0.85)))
static_row_decoder_3by8.add(gdstk.Reference(m0b_m1, (0.7855,0.074)))
static_row_decoder_3by8.add(gdstk.Reference(inv, (0.331,0.179), x_reflection=True))
static_row_decoder_3by8.add(gdstk.Reference(inv, (0.331,0.41), x_reflection=True))
static_row_decoder_3by8.add(gdstk.Reference(inv, (0.331,0.1475)))
static_row_decoder_3by8.add(gdstk.Reference(m2_m3, (0.2715,-0.933)))
static_row_decoder_3by8.add(gdstk.Reference(m2_m3, (0.3025,-0.3305)))
static_row_decoder_3by8.add(gdstk.Reference(m2_m3, (0.1825,-1.398)))
static_row_decoder_3by8.add(gdstk.Reference(m2_m3, (0.5545,-1.398)))
static_row_decoder_3by8.add(gdstk.Reference(m2_m3, (0.1825,-1.167)))
static_row_decoder_3by8.add(gdstk.Reference(m2_m3, (0.5545,-1.167)))
static_row_decoder_3by8.add(gdstk.Reference(m2_m3, (0.182,-0.937)))
static_row_decoder_3by8.add(gdstk.Reference(m2_m3, (0.5545,-0.936)))
static_row_decoder_3by8.add(gdstk.Reference(m2_m3, (0.182,-0.705)))
static_row_decoder_3by8.add(gdstk.Reference(m2_m3, (0.5545,-0.705)))
static_row_decoder_3by8.add(gdstk.Reference(m2_m3, (0.182,-0.4745)))
static_row_decoder_3by8.add(gdstk.Reference(m2_m3, (0.5545,-0.474)))
static_row_decoder_3by8.add(gdstk.Reference(m2_m3, (0.182,-0.0145)))
static_row_decoder_3by8.add(gdstk.Reference(m2_m3, (0.5545,-0.012)))
static_row_decoder_3by8.add(gdstk.Reference(m2_m3, (0.182,-0.243)))
static_row_decoder_3by8.add(gdstk.Reference(m2_m3, (0.5545,-0.243)))
static_row_decoder_3by8.add(gdstk.Reference(m2_m3, (0.1825,0.2215)))
static_row_decoder_3by8.add(gdstk.Reference(m2_m3, (0.5545,0.2215)))
static_row_decoder_3by8.add(gdstk.Reference(m2_m3, (0.5125,-0.9335)))
static_row_decoder_3by8.add(gdstk.Reference(m2_m3, (0.271,-0.3845)))
static_row_decoder_3by8.add(gdstk.Reference(m2_m3, (0.5125,-0.385)))
static_row_decoder_3by8.add(gdstk.Reference(m2_m3, (0.271,0.106)))
static_row_decoder_3by8.add(gdstk.Reference(m2_m3, (0.5125,0.106)))
static_row_decoder_3by8.add(gdstk.Reference(m2_m3, (0.3025,-1.05)))
static_row_decoder_3by8.add(gdstk.Reference(m2_m3, (0.5545,-1.05)))
static_row_decoder_3by8.add(gdstk.Reference(m2_m3, (0.5545,-0.357)))
static_row_decoder_3by8.add(gdstk.Reference(m2_m3, (0.5545,-0.1255)))
static_row_decoder_3by8.add(gdstk.Reference(m2_m3, (0.3025,-0.1245)))
static_row_decoder_3by8.add(gdstk.Reference(m2_m3, (0.3445,-0.706), rotation=pi))
static_row_decoder_3by8.add(gdstk.Reference(m2_m3, (0.3445,-0.6585), rotation=pi))
static_row_decoder_3by8.add(gdstk.Reference(m2_m3, (0.5545,-0.588)))
static_row_decoder_3by8.add(gdstk.Reference(m2_m3, (0.5545,-0.819)))
static_row_decoder_3by8.add(gdstk.Reference(m2_m3, (0.3025,-1.2815)))
static_row_decoder_3by8.add(gdstk.Reference(m2_m3, (0.5545,-1.281)))
static_row_decoder_3by8.add(gdstk.Reference(m2_m3, (0.5545,0.105)))
static_row_decoder_3by8.add(gdstk.Reference(m2_m3, (0.4705,0.336)))
static_row_decoder_3by8.add(gdstk.Reference(buffer_highdrive_vertica, (0.1625,-1.238)))
static_row_decoder_3by8.add(gdstk.Reference(m3_m4, (0.1825,-1.167)))
static_row_decoder_3by8.add(gdstk.Reference(m3_m4, (0.5545,-1.167)))
static_row_decoder_3by8.add(gdstk.Reference(m3_m4, (0.182,-0.937)))
static_row_decoder_3by8.add(gdstk.Reference(m3_m4, (0.5545,-0.936)))
static_row_decoder_3by8.add(gdstk.Reference(m3_m4, (0.182,-0.705)))
static_row_decoder_3by8.add(gdstk.Reference(m3_m4, (0.5545,-0.705)))
static_row_decoder_3by8.add(gdstk.Reference(m3_m4, (0.182,-0.4745)))
static_row_decoder_3by8.add(gdstk.Reference(m3_m4, (0.5545,-0.474)))
static_row_decoder_3by8.add(gdstk.Reference(m3_m4, (0.182,-0.0145)))
static_row_decoder_3by8.add(gdstk.Reference(m3_m4, (0.5545,-0.012)))
static_row_decoder_3by8.add(gdstk.Reference(m3_m4, (0.182,-0.243)))
static_row_decoder_3by8.add(gdstk.Reference(m3_m4, (0.5545,-0.243)))
static_row_decoder_3by8.add(gdstk.Reference(m3_m4, (0.1825,0.2215)))
static_row_decoder_3by8.add(gdstk.Reference(m3_m4, (0.5545,0.2215)))
static_row_decoder_3by8.add(gdstk.Reference(m3_m4, (0.271,-0.3845)))
static_row_decoder_3by8.add(gdstk.Reference(m3_m4, (0.5125,-0.385)))
static_row_decoder_3by8.add(gdstk.Reference(m3_m4, (0.271,0.106)))
static_row_decoder_3by8.add(gdstk.Reference(m3_m4, (0.5125,0.106)))
static_row_decoder_3by8.add(gdstk.Reference(m3_m4, (0.5545,-0.33)))
static_row_decoder_3by8.add(gdstk.Reference(m3_m4, (0.3025,-0.3305)))
static_row_decoder_3by8.add(gdstk.Reference(m3_m4, (0.5545,-0.1255)))
static_row_decoder_3by8.add(gdstk.Reference(m3_m4, (0.3025,-0.1255)))
static_row_decoder_3by8.add(gdstk.Reference(m0a_m0b, (1.1215,-0.788)))
static_row_decoder_3by8.add(gdstk.Reference(m0a_m0b, (1.0795,-0.158)))
static_row_decoder_3by8.add(gdstk.Reference(m0a_m0b, (1.0795,-1.422)))
static_row_decoder_3by8.add(gdstk.Reference(m0a_m0b, (1.1215,-1.254)))
static_row_decoder_3by8.add(gdstk.Reference(m0a_m0b, (1.1215,-1.0265)))
static_row_decoder_3by8.add(gdstk.Reference(m0a_m0b, (1.1215,-0.5595)))
static_row_decoder_3by8.add(gdstk.Reference(m0a_m0b, (1.1215,-0.323)))
static_row_decoder_3by8.add(gdstk.Reference(m0a_m0b, (1.1215,0.137)))
static_row_decoder_3by8.add(gdstk.Reference(m0a_m0b, (1.1215,0.368)))
static_row_decoder_3by8.add(gdstk.Reference(m0a_m0b, (1.0795,-0.616)))
static_row_decoder_3by8.add(gdstk.Reference(m0a_m0b, (1.0795,-0.8495)))
static_row_decoder_3by8.add(gdstk.Reference(m0a_m0b, (1.0795,-1.3115)))
static_row_decoder_3by8.add(gdstk.Reference(m0a_m0b, (1.0795,-1.0805)))
static_row_decoder_3by8.add(gdstk.Reference(m0a_m0b, (1.0795,-0.388)))
static_row_decoder_3by8.add(gdstk.Reference(m0a_m0b, (1.1215,-0.0925)))
static_row_decoder_3by8.add(gdstk.Reference(m0a_m0b, (1.0795,0.0715)))
static_row_decoder_3by8.add(gdstk.Reference(m0a_m0b, (1.0795,0.3095)))
static_row_decoder_3by8.add(gdstk.Label('gnd!', (1.1225,-1.421), layer=14, texttype=0))
static_row_decoder_3by8.add(gdstk.Label('vdd!', (1.0795,0.3085), layer=14, texttype=0))
static_row_decoder_3by8.add(gdstk.Label('WLRef', (0.2195,-1.139), layer=14, texttype=0))
static_row_decoder_3by8.add(gdstk.Label('A1', (0.389,0.2535), layer=14, texttype=0))
static_row_decoder_3by8.add(gdstk.Label('A2', (0.4055,0.0725), layer=14, texttype=0))
static_row_decoder_3by8.add(gdstk.Label('A0', (0.339,0.1045), layer=20, texttype=0))

lib.write_gds('static_row_decoder_3by8.gds')
